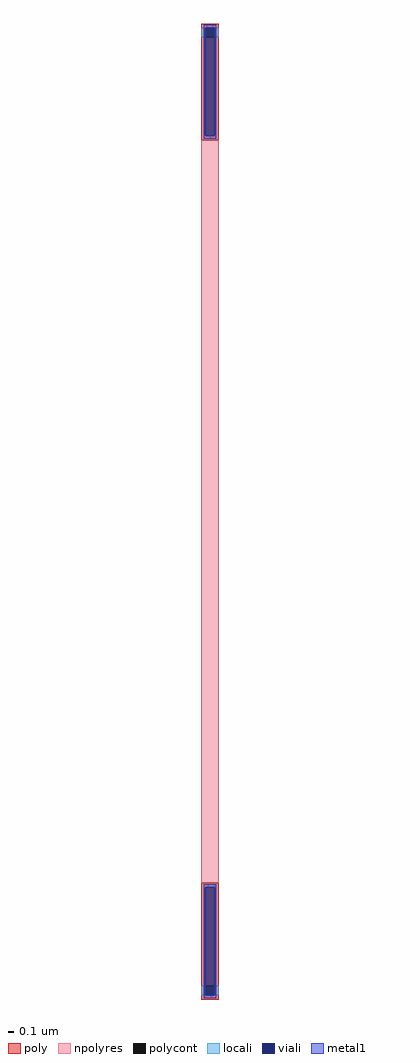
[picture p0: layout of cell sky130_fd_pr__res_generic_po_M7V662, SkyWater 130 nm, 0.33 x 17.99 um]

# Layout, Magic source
magic
tech sky130A
magscale 1 2
<< poly >>
rect -33 1783 33 1799
rect -33 1749 -17 1783
rect 17 1749 33 1783
rect -33 1369 33 1749
rect -33 -1749 33 -1369
rect -33 -1783 -17 -1749
rect 17 -1783 33 -1749
rect -33 -1799 33 -1783
<< polycont >>
rect -17 1749 17 1783
rect -17 -1783 17 -1749
<< npolyres >>
rect -33 -1369 33 1369
<< locali >>
rect -33 1749 -17 1783
rect 17 1749 33 1783
rect -33 -1783 -17 -1749
rect 17 -1783 33 -1749
<< viali >>
rect -17 1749 17 1783
rect -17 1386 17 1749
rect -17 -1749 17 -1386
rect -17 -1783 17 -1749
<< metal1 >>
rect -23 1783 23 1795
rect -23 1386 -17 1783
rect 17 1386 23 1783
rect -23 1374 23 1386
rect -23 -1386 23 -1374
rect -23 -1783 -17 -1386
rect 17 -1783 23 -1386
rect -23 -1795 23 -1783
<< properties >>
string gencell sky130_fd_pr__res_generic_po
string library sky130
string parameters w 0.33 l 13.693 m 1 nx 1 wmin 0.330 lmin 1.650 rho 48.2 val 2.0k dummy 0 dw 0.0 term 0.0 sterm 0.0 caplen 0.4 snake 0 guard 0 glc 1 grc 1 gtc 1 gbc 1 roverlap 0 endcov 100 full_metal 1 hv_guard 0 n_guard 0 vias 1 viagb 0 viagt 0 viagl 0 viagr 0
<< end >>
